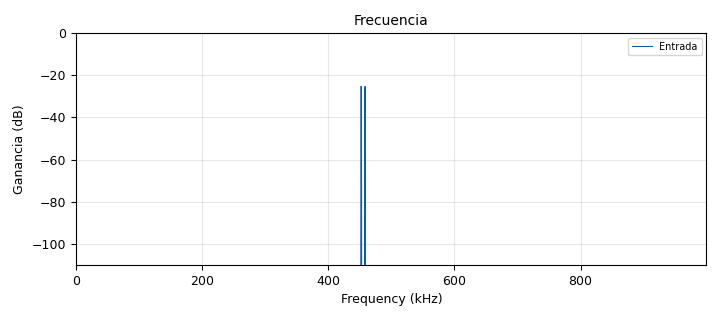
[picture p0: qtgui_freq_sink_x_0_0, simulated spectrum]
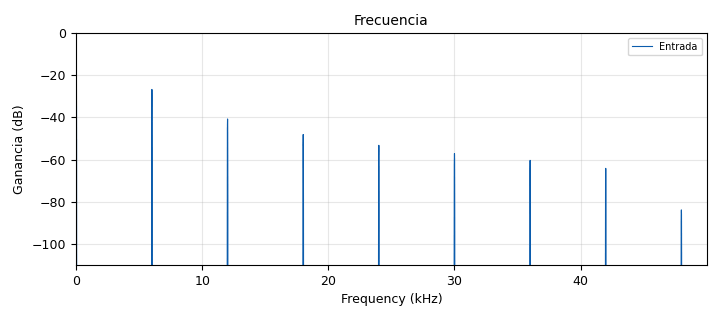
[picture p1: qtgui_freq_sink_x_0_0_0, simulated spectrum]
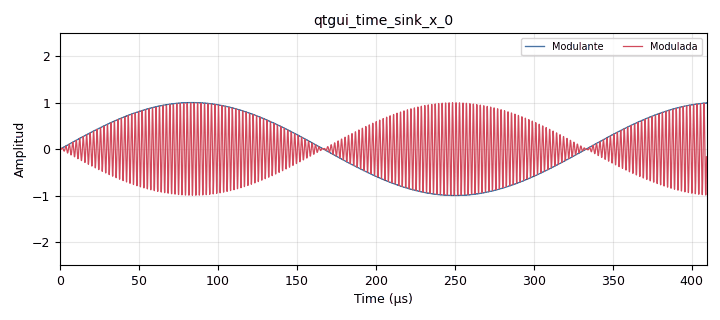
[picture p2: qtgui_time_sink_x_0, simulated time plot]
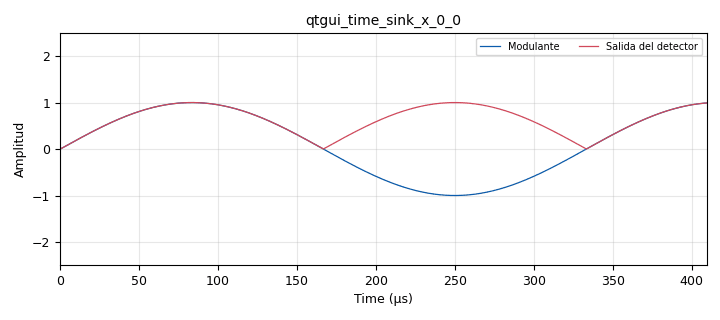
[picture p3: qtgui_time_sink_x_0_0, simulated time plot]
options:
  parameters:
    author: mdoallo
    generate_options: qt_gui
    id: detector_envolvente_2_tonos
    output_language: python
    title: Not titled yet
  states: {}

blocks:
- name: samp_rate
  id: variable
  parameters:
    value: 10e6
  states: {}
- name: analog_sig_source_x_0
  id: analog_sig_source_x
  parameters:
    amp: '1'
    freq: 3e3
    offset: '0'
    phase: '0'
    samp_rate: samp_rate
    type: float
    waveform: analog.GR_COS_WAVE
  states: {}
- name: analog_sig_source_x_0_0
  id: analog_sig_source_x
  parameters:
    amp: '1'
    freq: 455e3
    offset: '0'
    phase: '0'
    samp_rate: samp_rate
    type: complex
    waveform: analog.GR_COS_WAVE
  states: {}
- name: blocks_complex_to_mag_0
  id: blocks_complex_to_mag
  parameters: {}
  states: {}
- name: blocks_complex_to_real_0
  id: blocks_complex_to_real
  parameters: {}
  states: {}
- name: blocks_float_to_complex_0
  id: blocks_float_to_complex
  parameters: {}
  states: {}
- name: blocks_multiply_xx_0
  id: blocks_multiply_xx
  parameters:
    type: complex
  states: {}
- name: blocks_null_source_0
  id: blocks_null_source
  parameters:
    type: float
  states: {}
- name: blocks_throttle_0
  id: blocks_throttle
  parameters:
    samples_per_second: samp_rate
    type: complex
  states: {}
- name: note_1
  id: note
  parameters:
    note: Envolvente compleja
  states: {}
- name: note_1_0
  id: note
  parameters:
    note: Detector de envolvente a nivel de envolvente compleja
  states: {}
- name: qtgui_freq_sink_x_0_0
  id: qtgui_freq_sink_x
  parameters:
    bw: samp_rate/5
    ctrlpanel: 'True'
    fc: '0'
    fftsize: '16384'
    freqhalf: 'False'
    grid: 'True'
    gui_hint: qtgui_tab@2:0,0,5,5
    label: Ganancia
    label1: Entrada
    name: '"Frecuencia"'
    type: float
    wintype: window.WIN_FLATTOP
    ymax: '0'
    ymin: '-110'
  states: {}
- name: qtgui_freq_sink_x_0_0_0
  id: qtgui_freq_sink_x
  parameters:
    bw: samp_rate/100
    ctrlpanel: 'True'
    fc: '0'
    fftsize: '16384'
    freqhalf: 'False'
    grid: 'True'
    gui_hint: qtgui_tab@3:0,0,5,5
    label: Ganancia
    label1: Entrada
    name: '"Frecuencia"'
    type: float
    wintype: window.WIN_FLATTOP
    ymax: '0'
    ymin: '-110'
  states: {}
- name: qtgui_tab
  id: qtgui_tab_widget
  parameters:
    gui_hint: 0,0,5,5
    label0: Dominio temporal de entrada
    label1: Dominio temporal de salida
    label2: Dominio espectral de entrada
    label3: Dominio espectral de salida
    num_tabs: '4'
  states: {}
- name: qtgui_time_sink_x_0
  id: qtgui_time_sink_x
  parameters:
    ctrlpanel: 'True'
    grid: 'True'
    gui_hint: qtgui_tab@0:0,0,5,5
    label1: Modulante
    label2: Modulada
    nconnections: '2'
    size: '4096'
    srate: samp_rate
    tr_mode: qtgui.TRIG_MODE_AUTO
    type: float
    ylabel: Amplitud
    ymax: '2.5'
    ymin: '-2.5'
    yunit: V
  states: {}
- name: qtgui_time_sink_x_0_0
  id: qtgui_time_sink_x
  parameters:
    ctrlpanel: 'True'
    grid: 'True'
    gui_hint: qtgui_tab@1:0,0,5,5
    label1: Modulante
    label2: Salida del detector
    nconnections: '2'
    size: '4096'
    srate: samp_rate
    tr_mode: qtgui.TRIG_MODE_AUTO
    type: float
    ylabel: Amplitud
    ymax: '2.5'
    ymin: '-2.5'
    yunit: V
  states: {}
- name: rational_resampler_xxx_0
  id: rational_resampler_xxx
  parameters:
    decim: '5'
    interp: '1'
    type: fff
  states: {}
- name: rational_resampler_xxx_0_0
  id: rational_resampler_xxx
  parameters:
    decim: '100'
    interp: '1'
    type: fff
  states: {}
- name: virtual_sink_0
  id: virtual_sink
  parameters:
    stream_id: modulante
  states: {}
- name: virtual_source_0
  id: virtual_source
  parameters:
    stream_id: modulante
  states: {}
- name: virtual_source_0_0
  id: virtual_source
  parameters:
    stream_id: modulante
  states: {}

connections:
- [analog_sig_source_x_0, '0', blocks_float_to_complex_0, '0']
- [analog_sig_source_x_0, '0', virtual_sink_0, '0']
- [analog_sig_source_x_0_0, '0', blocks_multiply_xx_0, '1']
- [blocks_complex_to_mag_0, '0', qtgui_time_sink_x_0_0, '1']
- [blocks_complex_to_mag_0, '0', rational_resampler_xxx_0_0, '0']
- [blocks_complex_to_real_0, '0', qtgui_time_sink_x_0, '1']
- [blocks_complex_to_real_0, '0', rational_resampler_xxx_0, '0']
- [blocks_float_to_complex_0, '0', blocks_complex_to_mag_0, '0']
- [blocks_float_to_complex_0, '0', blocks_multiply_xx_0, '0']
- [blocks_multiply_xx_0, '0', blocks_throttle_0, '0']
- [blocks_null_source_0, '0', blocks_float_to_complex_0, '1']
- [blocks_throttle_0, '0', blocks_complex_to_real_0, '0']
- [rational_resampler_xxx_0, '0', qtgui_freq_sink_x_0_0, '0']
- [rational_resampler_xxx_0_0, '0', qtgui_freq_sink_x_0_0_0, '0']
- [virtual_source_0, '0', qtgui_time_sink_x_0, '0']
- [virtual_source_0_0, '0', qtgui_time_sink_x_0_0, '0']

metadata:
  file_format: 1
